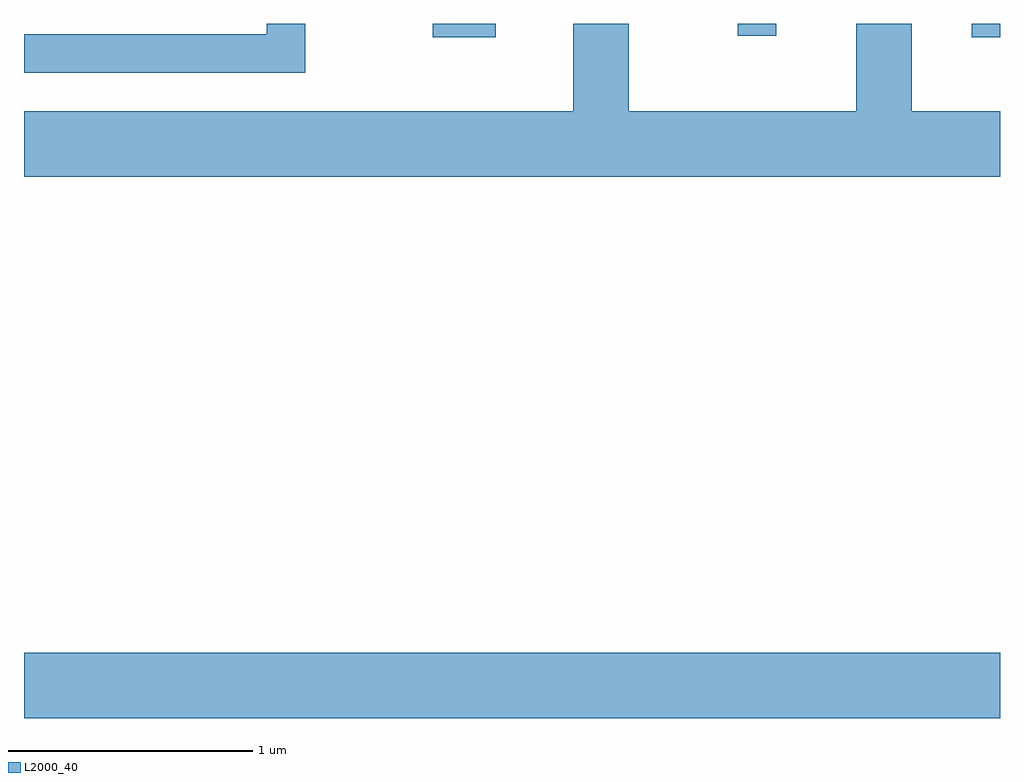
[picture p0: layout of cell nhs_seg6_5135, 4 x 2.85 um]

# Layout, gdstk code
import gdstk
lib = gdstk.Library(unit=1e-6, precision=1e-09)
def R(c, l, rs):  # rectangles x0, y0, x1, y1
    for r in rs: c.add(gdstk.rectangle(r[:2], r[2:], *l))
def P(c, l, *ps):  # polygons
    for p in ps: c.add(gdstk.Polygon(p, *l))
L2000_40 = (2000, 40)

nhs_seg6_5135 = lib.new_cell('nhs_seg6_5135')
R(nhs_seg6_5135, L2000_40, [(341.611,1603.316,345.611,1603.584), (343.286,1606.106,343.544,1606.162), (345.496,1606.106,345.611,1606.162), (344.536,1606.113,344.694,1606.162)])
P(nhs_seg6_5135, L2000_40, [(345.611,1605.804),(345.249,1605.804),(345.249,1606.162),(345.021,1606.162),(345.021,1605.804),(344.089,1605.804),(344.089,1606.162),(343.861,1606.162),(343.861,1605.804),(341.611,1605.804),(341.611,1605.536),(345.611,1605.536)],
  [(342.764,1606.162),(342.606,1606.162),(342.606,1606.119),(341.611,1606.119),(341.611,1605.961),(342.764,1605.961)])

lib.write_gds('nhs_seg6_5135.gds')
